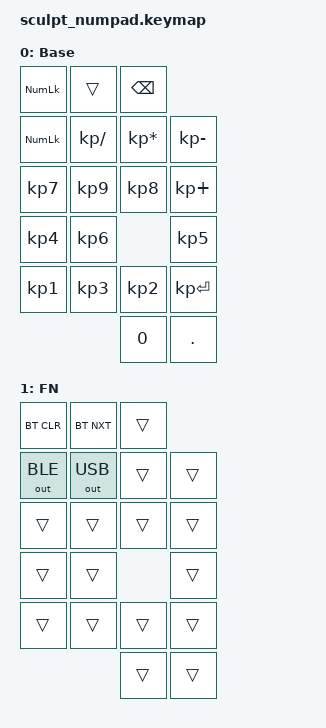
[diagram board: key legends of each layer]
/*
 * Microsoft Sculpt Ergonomic Numpad - ZMK Keymap
 *
 * Matrix layout (6 rows x 4 cols):
 *
 * Row0: [NumLock] [Calculator] [Backspace] [  empty  ]
 * Row1: [Clear(C)] [    /    ] [    *    ] [    -   ]
 * Row2: [   7   ] [   9   ] [   8   ] [   +   ]
 * Row3: [   4   ] [   6   ] [  empty] [   5   ]
 * Row4: [   1   ] [   3   ] [   2   ] [ Enter  ]
 * Row5: [ empty ] [ empty ] [   0   ] [   .   ]
 */

#include <behaviors.dtsi>
#include <dt-bindings/zmk/keys.h>
#include <dt-bindings/zmk/bt.h>
#include <dt-bindings/zmk/outputs.h>

/ {
    keymap {
        compatible = "zmk,keymap";

        default_layer {
            label = "Base";
            bindings = <
    // Row 0
    &kp KP_NUMLOCK &trans          &kp BACKSPACE
    // Row 1
    &kp KP_NUMLOCK &kp KP_SLASH    &kp KP_ASTERISK &kp KP_MINUS
    // Row 2
    &kp KP_NUMBER_7 &kp KP_NUMBER_9 &kp KP_NUMBER_8 &kp KP_PLUS
    // Row 3
    &kp KP_NUMBER_4 &kp KP_NUMBER_6                  &kp KP_NUMBER_5
    // Row 4
    &kp KP_NUMBER_1 &kp KP_NUMBER_3 &kp KP_NUMBER_2 &kp KP_ENTER
    // Row 5
                                     &kp N0           &kp DOT
            >;
        };

        // Function layer (hold NumLock to activate)
        fn_layer {
            label = "FN";
            bindings = <
    &bt BT_CLR   &bt BT_NXT   &trans
    &out OUT_BLE &out OUT_USB &trans &trans
    &trans       &trans       &trans &trans
    &trans       &trans              &trans
    &trans       &trans       &trans &trans
                              &trans &trans
            >;
        };
    };
};
